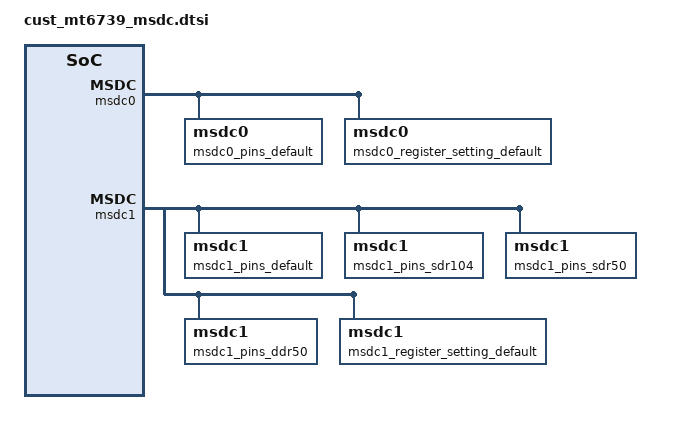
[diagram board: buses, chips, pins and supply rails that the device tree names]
/**********************************************
 *Zion MSDC DTSI File
********************************************/

&msdc0 {
	index = /bits/ 8 <0>;
	clk_src = /bits/ 8 <MSDC0_CLKSRC_400MHZ>;
	bus-width = <8>;
	max-frequency = <200000000>;
	cap-mmc-highspeed;
	msdc-sys-suspend;
	/*mmc-ddr-1_8v;*/
	/*mmc-hs200-1_8v;*/
	/*mmc-hs400-1_8v;*/
	non-removable;
	pinctl = <&msdc0_pins_default>;
	register_setting = <&msdc0_register_setting_default>;
	host_function = /bits/ 8 <MSDC_EMMC>;
	status = "okay";
	/*vmmc-supply = <&mt_pmic_vemc_ldo_reg>;*/
	/*clocks = <&pericfg CLK_PERICFG_RG_MSDC0_AP_NORM>;*/
	clock-names = "msdc0-clock";
	hw_dvfs = /bits/ 8 <0>;
};

&msdc1 {
	index = /bits/ 8 <1>;
	clk_src = /bits/ 8 <MSDC1_CLKSRC_200MHZ>;
	bus-width = <4>;
	max-frequency = <200000000>;
	msdc-sys-suspend;
	cap-sd-highspeed;
	sd-uhs-sdr12;
	sd-uhs-sdr25;
	sd-uhs-sdr50;
	sd-uhs-sdr104;
	sd-uhs-ddr50;
	pinctl = <&msdc1_pins_default>;
	pinctl_sdr104 = <&msdc1_pins_sdr104>;
	pinctl_sdr50 = <&msdc1_pins_sdr50>;
	pinctl_ddr50 = <&msdc1_pins_ddr50>;
	register_setting = <&msdc1_register_setting_default>;
	host_function = /bits/ 8 <MSDC_SD>;
	cd_level = /bits/ 8 <MSDC_CD_LOW>;
	/*cd-gpios = <&pio 8 0>;*/
	status = "okay";
	/*vmmc-supply = <&mt_pmic_vmch_ldo_reg>;*/
	/*vqmmc-supply = <&mt_pmic_vmc_ldo_reg>;*/
	/*clocks = <&pericfg CLK_PERICFG_RG_MSDC1>;*/
	clock-names = "msdc1-clock";
	hw_dvfs = /bits/ 8 <0>;
};

&msdc0 {
	msdc0_pins_default: msdc0@default {
		pins_cmd {
			drive-strength = /bits/ 8 <5>;
		};
		pins_dat {
			drive-strength = /bits/ 8 <5>;
		};
		pins_clk {
			drive-strength = /bits/ 8 <5>;
		};
		pins_rst {
			drive-strength = /bits/ 8 <5>;
		};
		pins_ds {
			drive-strength = /bits/ 8 <5>;
		};
	};

	msdc0_register_setting_default: msdc0@register_default {
		cmd_edge = /bits/ 8 <MSDC_SMPL_RISING>;
		rdata_edge = /bits/ 8 <MSDC_SMPL_RISING>;
		wdata_edge = /bits/ 8 <MSDC_SMPL_RISING>;
	};
};

&msdc1 {
	msdc1_pins_default: msdc1@default {
		pins_cmd {
			drive-strength = /bits/ 8 <6>;
		};
		pins_dat {
			drive-strength = /bits/ 8 <6>;
		};
		pins_clk {
			drive-strength = /bits/ 8 <6>;
		};
	};

	msdc1_pins_sdr104: msdc1@sdr104 {
		pins_cmd {
			drive-strength = /bits/ 8 <6>;
		};
		pins_dat {
			drive-strength = /bits/ 8 <6>;
		};
		pins_clk {
			drive-strength = /bits/ 8 <6>;
		};
	};

	msdc1_pins_sdr50: msdc1@sdr50 {
		pins_cmd {
			drive-strength = /bits/ 8 <6>;
		};
		pins_dat {
			drive-strength = /bits/ 8 <6>;
		};
		pins_clk {
			drive-strength = /bits/ 8 <6>;
		};
	};

	msdc1_pins_ddr50: msdc1@ddr50 {
		pins_cmd {
			drive-strength = /bits/ 8 <6>;
		};
		pins_dat {
			drive-strength = /bits/ 8 <6>;
		};
		pins_clk {
			drive-strength = /bits/ 8 <6>;
		};
	};

	msdc1_register_setting_default: msdc1@register_default {
		cmd_edge = /bits/ 8 <MSDC_SMPL_RISING>;
		rdata_edge = /bits/ 8 <MSDC_SMPL_RISING>;
		wdata_edge = /bits/ 8 <MSDC_SMPL_RISING>;
	};
};
